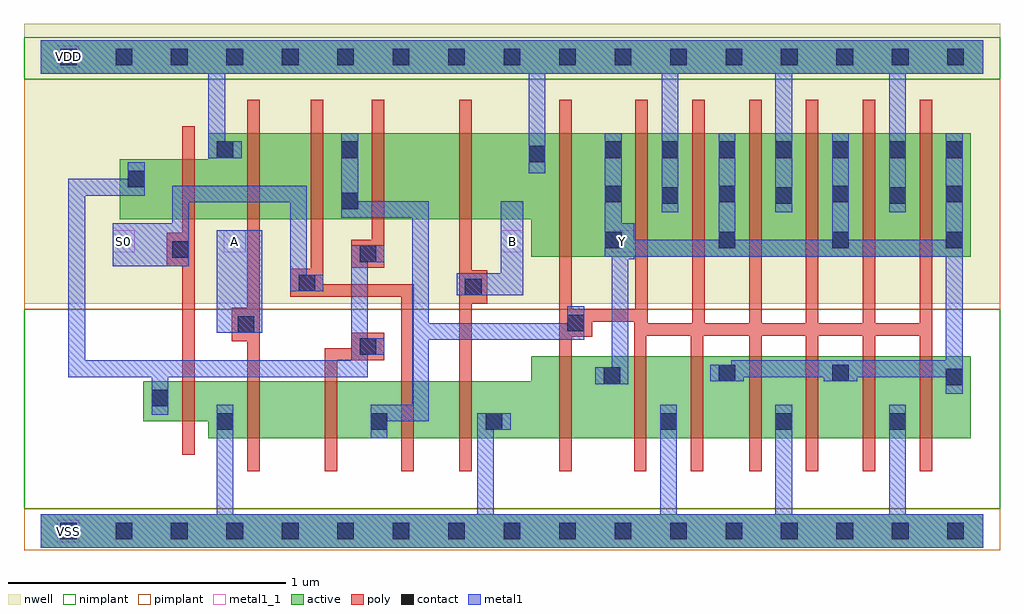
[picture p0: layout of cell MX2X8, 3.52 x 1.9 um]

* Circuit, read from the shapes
.subckt MX2X8 A B S0 VDD VSS Y
M1 VSS S0 n1 VSS nfet w=0.145u l=0.045u
M2 n2 A VSS VSS nfet w=0.205u l=0.045u
M3 n3 n1 n2 VSS nfet w=0.205u l=0.045u
M4 n4 S0 n3 VSS nfet w=0.205u l=0.045u
M5 VSS B n4 VSS nfet w=0.205u l=0.045u
M6 Y n3 VSS VSS nfet w=0.295u l=0.045u m=7
M7 VDD S0 n1 VDD pfet w=0.215u l=0.045u
M8 n5 A VDD VDD pfet w=0.31u l=0.045u
M9 n3 S0 n5 VDD pfet w=0.31u l=0.045u
M10 n6 n1 n3 VDD pfet w=0.31u l=0.045u
M11 VDD B n6 VDD pfet w=0.31u l=0.045u
M12 Y n3 VDD VDD pfet w=0.445u l=0.045u m=7
.ends

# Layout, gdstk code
import gdstk
lib = gdstk.Library(unit=1e-6, precision=5e-10)
def R(c, l, rs):  # rectangles x0, y0, x1, y1
    for r in rs: c.add(gdstk.rectangle(r[:2], r[2:], *l))
def A(c, l, x, y, w, h, nx, ny, dx, dy):  # array of equal rectangles
    R(c, l, [(x+i*dx, y+j*dy, x+i*dx+w, y+j*dy+h) for i in range(nx) for j in range(ny)])
def P(c, l, *ps):  # polygons
    for p in ps: c.add(gdstk.Polygon(p, *l))
active = (1, 0)
nwell = (2, 0)
poly = (3, 0)
nimplant = (4, 0)
pimplant = (5, 0)
contact = (6, 0)
metal1 = (7, 0)
metal1_1 = (7, 1)

mx2x8 = lib.new_cell('MX2X8')
R(mx2x8, active, [(0,-0.06,3.4,0.06), (0,1.65,3.4,1.77)])
P(mx2x8, active, [(0.605,1.435),(3.355,1.435),(3.355,0.99),(1.77,0.99),(1.77,1.125),(0.285,1.125),(0.285,1.34),(0.605,1.34)],
  [(1.77,0.63),(3.355,0.63),(3.355,0.335),(0.605,0.335),(0.605,0.395),(0.37,0.395),(0.37,0.54),(1.77,0.54)])
R(mx2x8, nwell, [(-0.06,0.82,3.46,1.83)])
P(mx2x8, poly, [(0.51,1.46),(0.555,1.46),(0.555,0.275),(0.51,0.275),(0.51,0.955),(0.455,0.955),(0.455,1.075),(0.51,1.075)],
  [(0.745,1.555),(0.79,1.555),(0.79,0.215),(0.745,0.215),(0.745,0.685),(0.69,0.685),(0.69,0.805),(0.745,0.805)],
  [(0.975,1.555),(1.02,1.555),(1.02,0.89),(1.345,0.89),(1.345,0.215),(1.3,0.215),(1.3,0.845),(0.9,0.845),(0.9,0.945),(0.975,0.945)],
  [(1.195,1.555),(1.24,1.555),(1.24,0.95),(1.12,0.95),(1.12,1.05),(1.195,1.05)],
  [(1.51,1.555),(1.555,1.555),(1.555,0.94),(1.61,0.94),(1.61,0.82),(1.555,0.82),(1.555,0.215),(1.51,0.215)],
  [(1.87,1.555),(1.915,1.555),(1.915,0.8),(2.145,0.8),(2.145,1.555),(2.19,1.555),(2.19,0.75),(2.35,0.75),(2.35,1.555),(2.395,1.555),(2.395,0.75),(2.555,0.75),(2.555,1.555),(2.6,1.555),(2.6,0.75),(2.76,0.75),(2.76,1.555),(2.805,1.555),(2.805,0.75),(2.965,0.75),(2.965,1.555),(3.01,1.555),(3.01,0.75),(3.17,0.75),(3.17,1.555),(3.215,1.555),(3.215,0.215),(3.17,0.215),(3.17,0.705),(3.01,0.705),(3.01,0.215),(2.965,0.215),(2.965,0.705),(2.805,0.705),(2.805,0.215),(2.76,0.215),(2.76,0.705),(2.6,0.705),(2.6,0.215),(2.555,0.215),(2.555,0.705),(2.39,0.705),(2.39,0.215),(2.345,0.215),(2.345,0.705),(2.185,0.705),(2.185,0.215),(2.14,0.215),(2.14,0.755),(1.99,0.755),(1.99,0.7),(1.915,0.7),(1.915,0.215),(1.87,0.215)],
  [(1.12,0.715),(1.24,0.715),(1.24,0.615),(1.07,0.615),(1.07,0.215),(1.025,0.215),(1.025,0.66),(1.12,0.66)])
R(mx2x8, nimplant, [(-0.06,0.08,3.46,0.8), (-0.06,1.63,3.46,1.78)])
R(mx2x8, pimplant, [(-0.06,-0.07,3.46,0.08), (-0.06,0.8,3.46,1.63)])
A(mx2x8, contact, 0.07, -0.03, 0.06, 0.06, 17, 2, 0.2, 1.71)
A(mx2x8, contact, 2.035, 1.02, 0.06, 0.06, 4, 2, 0.41, 0.165)
A(mx2x8, contact, 2.24, 1.18, 0.06, 0.06, 3, 1, 0.41, 0)
A(mx2x8, contact, 2.035, 1.345, 0.06, 0.06, 7, 1, 0.205, 0)
R(mx2x8, contact, [(0.635,0.365,0.695,0.425), (1.19,0.365,1.25,0.425), (1.605,0.365,1.665,0.425), (2.235,0.365,2.295,0.425), (2.65,0.365,2.71,0.425), (3.06,0.365,3.12,0.425), (0.4,0.45,0.46,0.51), (3.265,0.525,3.325,0.585), (2.03,0.53,2.09,0.59), (2.445,0.54,2.505,0.6), (2.855,0.54,2.915,0.6), (1.15,0.635,1.21,0.695), (0.71,0.715,0.77,0.775), (1.9,0.72,1.96,0.78), (1.53,0.85,1.59,0.91), (0.93,0.865,0.99,0.925), (1.15,0.97,1.21,1.03), (0.475,0.985,0.535,1.045), (1.085,1.16,1.145,1.22), (0.315,1.24,0.375,1.3), (1.76,1.33,1.82,1.39), (0.635,1.345,0.695,1.405), (1.085,1.345,1.145,1.405)])
R(mx2x8, metal1, [(0.635,0.715,0.8,1.085)])
P(mx2x8, metal1, [(0,1.77),(3.4,1.77),(3.4,1.65),(3.12,1.65),(3.12,1.15),(3.06,1.15),(3.06,1.65),(2.71,1.65),(2.71,1.15),(2.65,1.15),(2.65,1.65),(2.3,1.65),(2.3,1.15),(2.24,1.15),(2.24,1.65),(1.82,1.65),(1.82,1.29),(1.76,1.29),(1.76,1.65),(0.665,1.65),(0.665,1.405),(0.725,1.405),(0.725,1.345),(0.605,1.345),(0.605,1.65),(0,1.65)],
  [(1.085,1.435),(1.145,1.435),(1.145,1.19),(1.4,1.19),(1.4,0.75),(1.9,0.75),(1.9,0.81),(1.96,0.81),(1.96,0.69),(1.4,0.69),(1.4,0.395),(1.25,0.395),(1.25,0.335),(1.19,0.335),(1.19,0.455),(1.34,0.455),(1.34,1.13),(1.085,1.13)],
  [(0.315,1.33),(0.375,1.33),(0.375,1.21),(0.16,1.21),(0.16,0.615),(1.12,0.615),(1.12,1.03),(1.24,1.03),(1.24,0.97),(1.18,0.97),(1.18,0.695),(1.24,0.695),(1.24,0.635),(1.18,0.635),(1.18,0.555),(0.46,0.555),(0.46,0.42),(0.4,0.42),(0.4,0.555),(0.1,0.555),(0.1,1.27),(0.315,1.27)],
  [(0.475,1.245),(0.96,1.245),(0.96,0.925),(1.02,0.925),(1.02,0.865),(0.9,0.865),(0.9,1.185),(0.535,1.185),(0.535,0.955),(0.26,0.955),(0.26,1.11),(0.475,1.11)],
  [(2.035,1.435),(2.095,1.435),(2.095,1.11),(2.14,1.11),(2.14,1.05),(2.445,1.05),(2.445,1.435),(2.505,1.435),(2.505,1.05),(2.855,1.05),(2.855,1.435),(2.915,1.435),(2.915,1.05),(3.265,1.05),(3.265,1.435),(3.325,1.435),(3.325,0.495),(3.265,0.495),(3.265,0.555),(2.945,0.555),(2.945,0.54),(2.825,0.54),(2.825,0.555),(2.535,0.555),(2.535,0.54),(2.415,0.54),(2.415,0.6),(2.49,0.6),(2.49,0.615),(3.265,0.615),(3.265,0.99),(2.14,0.99),(2.14,0.98),(2.12,0.98),(2.12,0.53),(2,0.53),(2,0.59),(2.06,0.59),(2.06,0.99),(2.035,0.99)],
  [(1.66,1.19),(1.74,1.19),(1.74,0.85),(1.5,0.85),(1.5,0.93),(1.66,0.93)],
  [(0.635,0.455),(0.695,0.455),(0.695,0.06),(1.575,0.06),(1.575,0.425),(1.695,0.425),(1.695,0.365),(1.635,0.365),(1.635,0.06),(2.235,0.06),(2.235,0.455),(2.295,0.455),(2.295,0.06),(2.65,0.06),(2.65,0.455),(2.71,0.455),(2.71,0.06),(3.06,0.06),(3.06,0.455),(3.12,0.455),(3.12,0.06),(3.4,0.06),(3.4,-0.06),(0,-0.06),(0,0.06),(0.635,0.06)])
R(mx2x8, metal1_1, [(0.06,-0.04,0.14,0.04), (0.26,1.005,0.34,1.085), (0.66,1.005,0.74,1.085), (1.66,1.005,1.74,1.085), (2.06,1.005,2.14,1.085), (0.06,1.67,0.14,1.75)])
mx2x8.add(gdstk.Label('Y', (2.1,1.045), layer=7, texttype=1))
mx2x8.add(gdstk.Label('B', (1.7,1.045), layer=7, texttype=1))
mx2x8.add(gdstk.Label('A', (0.7,1.045), layer=7, texttype=1))
mx2x8.add(gdstk.Label('S0', (0.3,1.045), layer=7, texttype=1))
mx2x8.add(gdstk.Label('VDD', (0.1,1.71), layer=7, texttype=1))
mx2x8.add(gdstk.Label('VSS', (0.1,0), layer=7, texttype=1))
mx2x8.add(gdstk.Label('MX2X8', (0,0), layer=63, texttype=0))

lib.write_gds('MX2X8.gds')
